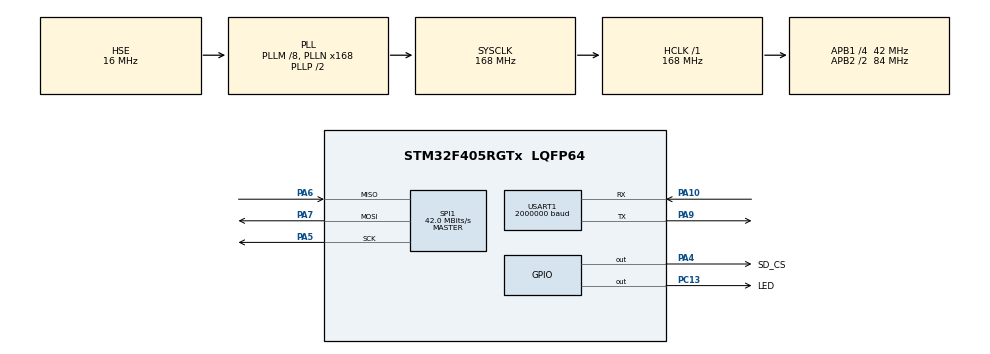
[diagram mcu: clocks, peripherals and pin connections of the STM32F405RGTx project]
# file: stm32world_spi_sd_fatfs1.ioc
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Dma.Request0=SPI1_RX
Dma.Request1=SPI1_TX
Dma.SPI1_RX.0.Direction=DMA_PERIPH_TO_MEMORY
Dma.SPI1_RX.0.FIFOMode=DMA_FIFOMODE_DISABLE
Dma.SPI1_RX.0.Instance=DMA2_Stream0
Dma.SPI1_RX.0.MemDataAlignment=DMA_MDATAALIGN_BYTE
Dma.SPI1_RX.0.MemInc=DMA_MINC_ENABLE
Dma.SPI1_RX.0.Mode=DMA_NORMAL
Dma.SPI1_RX.0.PeriphDataAlignment=DMA_PDATAALIGN_BYTE
Dma.SPI1_RX.0.PeriphInc=DMA_PINC_DISABLE
Dma.SPI1_RX.0.Priority=DMA_PRIORITY_LOW
Dma.SPI1_TX.1.Direction=DMA_MEMORY_TO_PERIPH
Dma.SPI1_TX.1.FIFOMode=DMA_FIFOMODE_DISABLE
Dma.SPI1_TX.1.Instance=DMA2_Stream3
Dma.SPI1_TX.1.MemDataAlignment=DMA_MDATAALIGN_BYTE
Dma.SPI1_TX.1.MemInc=DMA_MINC_ENABLE
Dma.SPI1_TX.1.Mode=DMA_NORMAL
Dma.SPI1_TX.1.PeriphDataAlignment=DMA_PDATAALIGN_BYTE
Dma.SPI1_TX.1.PeriphInc=DMA_PINC_DISABLE
Dma.SPI1_TX.1.Priority=DMA_PRIORITY_LOW
FATFS._FS_EXFAT=1
FATFS._FS_NOFSINFO=0
FATFS._MAX_SS=512
FATFS._MULTI_PARTITION=1
FATFS._USE_CHMOD=1
FATFS._USE_EXPAND=1
FATFS._USE_FIND=1
FATFS._USE_FORWARD=1
FATFS._USE_LABEL=1
FATFS._USE_LFN=1
FATFS._VOLUMES=1
Mcu.Family=STM32F4
Mcu.Name=STM32F405RGTx
Mcu.Package=LQFP64
NVIC.DMA2_Stream0_IRQn=true\:0\:0\:false\:false\:true\:false\:true\:true
NVIC.DMA2_Stream3_IRQn=true\:0\:0\:false\:false\:true\:false\:true\:true
NVIC.PriorityGroup=NVIC_PRIORITYGROUP_4
NVIC.SPI1_IRQn=true\:0\:0\:false\:false\:true\:true\:true\:true
PA10.Mode=Asynchronous
PA10.Signal=USART1_RX
PA13.Mode=Trace_Asynchronous_SW
PA13.Signal=SYS_JTMS-SWDIO
PA14.Mode=Trace_Asynchronous_SW
PA14.Signal=SYS_JTCK-SWCLK
PA4.GPIO_Label=SD_CS
PA4.PinState=GPIO_PIN_SET
PA4.Signal=GPIO_Output
PA5.Mode=Full_Duplex_Master
PA5.Signal=SPI1_SCK
PA6.GPIO_PuPd=GPIO_PULLUP
PA6.Mode=Full_Duplex_Master
PA6.Signal=SPI1_MISO
PA7.GPIO_PuPd=GPIO_PULLUP
PA7.Mode=Full_Duplex_Master
PA7.Signal=SPI1_MOSI
PA9.Mode=Asynchronous
PA9.Signal=USART1_TX
PB3.Mode=Trace_Asynchronous_SW
PB3.Signal=SYS_JTDO-SWO
PC13-ANTI_TAMP.GPIO_Label=LED
PC13-ANTI_TAMP.PinState=GPIO_PIN_SET
PC13-ANTI_TAMP.Signal=GPIO_Output
PH0-OSC_IN.Mode=HSE-External-Oscillator
PH0-OSC_IN.Signal=RCC_OSC_IN
PH1-OSC_OUT.Mode=HSE-External-Oscillator
PH1-OSC_OUT.Signal=RCC_OSC_OUT
ProjectManager.HeapSize=0x200
ProjectManager.StackSize=0x400
ProjectManager.TargetToolchain=STM32CubeIDE
RCC.48MHZClocksFreq_Value=84000000
RCC.AHBFreq_Value=168000000
RCC.APB1CLKDivider=RCC_HCLK_DIV4
RCC.APB1Freq_Value=42000000
RCC.APB1TimFreq_Value=84000000
RCC.APB2CLKDivider=RCC_HCLK_DIV2
RCC.APB2Freq_Value=84000000
RCC.APB2TimFreq_Value=168000000
RCC.CortexFreq_Value=168000000
RCC.HCLKFreq_Value=168000000
RCC.HSE_VALUE=16000000
RCC.HSI_VALUE=16000000
RCC.LSE_VALUE=32768
RCC.PLLM=8
RCC.PLLN=168
RCC.PLLSourceVirtual=RCC_PLLSOURCE_HSE
RCC.SYSCLKFreq_VALUE=168000000
RCC.SYSCLKSource=RCC_SYSCLKSOURCE_PLLCLK
RCC.VCOOutputFreq_Value=336000000
SPI1.BaudRatePrescaler=SPI_BAUDRATEPRESCALER_2
SPI1.CalculateBaudRate=42.0 MBits/s
SPI1.Direction=SPI_DIRECTION_2LINES
SPI1.Mode=SPI_MODE_MASTER
SPI1.VirtualType=VM_MASTER
USART1.BaudRate=2000000
USART1.VirtualMode=VM_ASYNC
VP_FATFS_VS_Generic.Mode=User_defined
board=custom

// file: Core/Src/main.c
/* USER CODE BEGIN Header */
/**
 ******************************************************************************
 * @file           : main.c
 * @brief          : Main program body
 ******************************************************************************
 * @attention
 *
 * Copyright (c) 2024 Lars Boegild Thomsen <lth@stm32world.com>
 * All rights reserved.
 *
 * This software is licensed under terms that can be found in the LICENSE file
 * in the root directory of this software component.
 * If no LICENSE file comes with this software, it is provided AS-IS.
 *
 ******************************************************************************
 */
/* USER CODE END Header */
#include "main.h"
#include "fatfs.h"

/* USER CODE BEGIN Includes */
#include <stdio.h>
#include <string.h>
//#include "sd_functions.h"
/* USER CODE END Includes */

SPI_HandleTypeDef hspi1;
DMA_HandleTypeDef hdma_spi1_rx;
DMA_HandleTypeDef hdma_spi1_tx;

UART_HandleTypeDef huart1;

/* USER CODE BEGIN PV */
const char total_uptime_filename[] = "uptime.dat";
const char tick_filename[] = "tick.txt";
const char big_filename[] = "big.dat";

uint32_t total_uptime = 0;
/* USER CODE END PV */

void SystemClock_Config(void);
static void MX_GPIO_Init(void);
static void MX_DMA_Init(void);
static void MX_SPI1_Init(void);
static void MX_USART1_UART_Init(void);

/* USER CODE BEGIN 0 */

// Send printf to uart1
int _write(int fd, char *ptr, int len) {
    HAL_StatusTypeDef hstatus;

    if (fd == 1 || fd == 2) {
        hstatus = HAL_UART_Transmit(&huart1, (uint8_t*) ptr, len, HAL_MAX_DELAY);
        if (hstatus == HAL_OK)
            return len;
        else
            return -1;
    }
    return -1;
}

void ls() {

    FRESULT res;
    DIR dir;
    char *path;

    path = ""; // where you want to list

    res = f_opendir(&dir, path);

#ifdef DEBUG
    if (res != FR_OK)
        printf("res = %d f_opendir\n", res);
#endif

    if (res == FR_OK) {
        while (1) {

            FILINFO fno;

            res = f_readdir(&dir, &fno);

#ifdef DEBUG
            if (res != FR_OK)
                printf("res = %d f_readdir\n", res);
#endif

            if ((res != FR_OK) || (fno.fname[0] == 0))
                break;

            printf("%c%c%c%c %12d %s/%s\n",
                    ((fno.fattrib & AM_DIR) ? 'D' : '-'),
                    ((fno.fattrib & AM_RDO) ? 'R' : '-'),
                    ((fno.fattrib & AM_SYS) ? 'S' : '-'),
                    ((fno.fattrib & AM_HID) ? 'H' : '-'),
                    (unsigned int) fno.fsize, path, fno.fname);
        }
    }

    uint32_t freeClust;
    FATFS *fs_ptr; // = &USERFatFS;
    res = f_getfree("", &freeClust, &fs_ptr); // Warning! This fills fs.n_fatent and fs.csize!
    if (res == FR_OK) {
        uint32_t totalBlocks = (fs_ptr->n_fatent - 2) * fs_ptr->csize;
        uint32_t freeBlocks = freeClust * fs_ptr->csize;

        printf("Total blocks: %lu (%lu Mb)\n", totalBlocks, totalBlocks / 2000);
        printf("Free blocks: %lu (%lu Mb)\n", freeBlocks, freeBlocks / 2000);

    } else {
        printf("f_getfree() failed, res = %d\r\n", res);
    }

}

/* USER CODE END 0 */

int main(void)
{

    /* MCU Configuration--------------------------------------------------------*/

    /* Reset of all peripherals, Initializes the Flash interface and the Systick. */
    HAL_Init();

    /* Configure the system clock */
    SystemClock_Config();

    /* Initialize all configured peripherals */
    MX_GPIO_Init();
    MX_DMA_Init();
    MX_SPI1_Init();
    MX_USART1_UART_Init();
    /* USER CODE BEGIN 2 */

    HAL_Delay(100);

    printf("\n\n\n\n--------\nStarting\n");

    //sd_mount();

    uint32_t wbytes, rbytes; /* File write counts */

    if (f_mount(&USERFatFS, "", 0) != FR_OK) {
        printf("Unable to mount disk\n");
        Error_Handler();
    }

    if (f_open(&USERFile, total_uptime_filename, FA_OPEN_EXISTING | FA_READ) == FR_OK) {
        if (f_read(&USERFile, &total_uptime, sizeof(total_uptime), (void*) &rbytes) == FR_OK) {
            printf("Total uptime = %lu\n", total_uptime);
            f_close(&USERFile);
        } else {
            printf("Unable to read\n");
            Error_Handler();
        }
    } else {
        // File did not exist - let's create it
        if (f_open(&USERFile, total_uptime_filename, FA_CREATE_ALWAYS | FA_WRITE) == FR_OK) {
            if (f_write(&USERFile, &total_uptime, sizeof(total_uptime), (void*) &wbytes) == FR_OK) {
                printf("File %s created\n", total_uptime_filename);
                f_close(&USERFile);
            } else {
                printf("Unable to write\n");
                Error_Handler();
            }
        } else {
            printf("Unable to create\n");
            Error_Handler();
        }
    }

    // Create tick file if it does NOT exist
    if (f_open(&USERFile, tick_filename, FA_CREATE_ALWAYS | FA_WRITE) == FR_OK) {
        f_close(&USERFile);
    }

    uint8_t buf[1024]; // 1K buffer
    for (uint16_t i = 0; i < 1024; ++i) {
        buf[i] = (uint8_t) i;
    }

    uint32_t start = uwTick;
    if (f_open(&USERFile, big_filename, FA_CREATE_ALWAYS | FA_WRITE) == FR_OK) {
        for (int i = 0; i < 1024; ++i) { // 100 kB
            //printf("Writing buf %d\n", i);
            if (f_write(&USERFile, &buf, sizeof(buf), (void*) &wbytes) != FR_OK) {
                printf("Unable to write\n");
            }
        }
        f_close(&USERFile);
    } else {
        printf("Unable to open %s\n", big_filename);
    }
    printf("Write took %lu ms\n", uwTick - start);

    //ls();

    /* USER CODE END 2 */

    /* Infinite loop */
    /* USER CODE BEGIN WHILE */

    uint32_t now, next_blink = 500, next_tick = 1000, loop_count = 0, next_ls = 10000;

    while (1) {

        now = uwTick;

        if (now >= next_blink) {
            HAL_GPIO_TogglePin(LED_GPIO_Port, LED_Pin);
            next_blink = now + 500;
        }

        if (now >= next_tick) {

            ++total_uptime;

            char s[128];

            sprintf(s, "Tick %lu (loop = %lu total = %lu)\n", now / 1000, loop_count, total_uptime);

            printf("%s", s);

            // Write tick line to file
            if (f_open(&USERFile, tick_filename, FA_OPEN_APPEND | FA_WRITE) == FR_OK) {
                if (f_write(&USERFile, &s, strlen(s), (void*) &wbytes) != FR_OK) {
                    printf("Unable to write\n");
                }
                f_close(&USERFile);
            } else {
                printf("Unable to open tick file\n");
            }

            // Update the total uptime file
            if (f_open(&USERFile, total_uptime_filename, FA_OPEN_EXISTING | FA_WRITE) == FR_OK) {
                if (f_write(&USERFile, &total_uptime, sizeof(total_uptime), (void*) &wbytes) != FR_OK) {
                    printf("Unable to write\n");
                }
                f_close(&USERFile);
            } else {
                printf("Unable to open file\n");
            }

            loop_count = 0;
            next_tick = now + 1000;
        }

        if (now >= next_ls) {

            uint32_t start = uwTick;
            if (f_open(&USERFile, big_filename, FA_OPEN_EXISTING | FA_READ) == FR_OK) {
                while (f_read(&USERFile, &buf, sizeof(buf), (void*) &rbytes) == FR_OK && rbytes == sizeof(buf)) {

                }
                f_close(&USERFile);
            } else {
                printf("Unable to open %s\n", big_filename);
            }
            printf("Read took %lu ms\n", uwTick - start);

            //ls();
            next_ls = now + 10000;
        }

        ++loop_count;

        /* USER CODE END WHILE */

    }
}

void SystemClock_Config(void)
{
    RCC_OscInitTypeDef RCC_OscInitStruct = { 0 };
    RCC_ClkInitTypeDef RCC_ClkInitStruct = { 0 };

    /** Configure the main internal regulator output voltage
     */
    __HAL_RCC_PWR_CLK_ENABLE();
    __HAL_PWR_VOLTAGESCALING_CONFIG(PWR_REGULATOR_VOLTAGE_SCALE1);

    /** Initializes the RCC Oscillators according to the specified parameters
     * in the RCC_OscInitTypeDef structure.
     */
    RCC_OscInitStruct.OscillatorType = RCC_OSCILLATORTYPE_HSE;
    RCC_OscInitStruct.HSEState = RCC_HSE_ON;
    RCC_OscInitStruct.PLL.PLLState = RCC_PLL_ON;
    RCC_OscInitStruct.PLL.PLLSource = RCC_PLLSOURCE_HSE;
    RCC_OscInitStruct.PLL.PLLM = 8;
    RCC_OscInitStruct.PLL.PLLN = 168;
    RCC_OscInitStruct.PLL.PLLP = RCC_PLLP_DIV2;
    RCC_OscInitStruct.PLL.PLLQ = 4;
    if (HAL_RCC_OscConfig(&RCC_OscInitStruct) != HAL_OK)
            {
        Error_Handler();
    }

    /** Initializes the CPU, AHB and APB buses clocks
     */
    RCC_ClkInitStruct.ClockType = RCC_CLOCKTYPE_HCLK | RCC_CLOCKTYPE_SYSCLK
            | RCC_CLOCKTYPE_PCLK1 | RCC_CLOCKTYPE_PCLK2;
    RCC_ClkInitStruct.SYSCLKSource = RCC_SYSCLKSOURCE_PLLCLK;
    RCC_ClkInitStruct.AHBCLKDivider = RCC_SYSCLK_DIV1;
    RCC_ClkInitStruct.APB1CLKDivider = RCC_HCLK_DIV4;
    RCC_ClkInitStruct.APB2CLKDivider = RCC_HCLK_DIV2;

    if (HAL_RCC_ClockConfig(&RCC_ClkInitStruct, FLASH_LATENCY_5) != HAL_OK)
            {
        Error_Handler();
    }
}

static void MX_SPI1_Init(void)
{

    /* SPI1 parameter configuration*/
    hspi1.Instance = SPI1;
    hspi1.Init.Mode = SPI_MODE_MASTER;
    hspi1.Init.Direction = SPI_DIRECTION_2LINES;
    hspi1.Init.DataSize = SPI_DATASIZE_8BIT;
    hspi1.Init.CLKPolarity = SPI_POLARITY_LOW;
    hspi1.Init.CLKPhase = SPI_PHASE_1EDGE;
    hspi1.Init.NSS = SPI_NSS_SOFT;
    hspi1.Init.BaudRatePrescaler = SPI_BAUDRATEPRESCALER_2;
    hspi1.Init.FirstBit = SPI_FIRSTBIT_MSB;
    hspi1.Init.TIMode = SPI_TIMODE_DISABLE;
    hspi1.Init.CRCCalculation = SPI_CRCCALCULATION_DISABLE;
    hspi1.Init.CRCPolynomial = 10;
    if (HAL_SPI_Init(&hspi1) != HAL_OK)
            {
        Error_Handler();
    }

}

static void MX_USART1_UART_Init(void)
{

    huart1.Instance = USART1;
    huart1.Init.BaudRate = 2000000;
    huart1.Init.WordLength = UART_WORDLENGTH_8B;
    huart1.Init.StopBits = UART_STOPBITS_1;
    huart1.Init.Parity = UART_PARITY_NONE;
    huart1.Init.Mode = UART_MODE_TX_RX;
    huart1.Init.HwFlowCtl = UART_HWCONTROL_NONE;
    huart1.Init.OverSampling = UART_OVERSAMPLING_16;
    if (HAL_UART_Init(&huart1) != HAL_OK)
            {
        Error_Handler();
    }

}

static void MX_DMA_Init(void)
{

    /* DMA controller clock enable */
    __HAL_RCC_DMA2_CLK_ENABLE();

    /* DMA interrupt init */
    /* DMA2_Stream0_IRQn interrupt configuration */
    HAL_NVIC_SetPriority(DMA2_Stream0_IRQn, 0, 0);
    HAL_NVIC_EnableIRQ(DMA2_Stream0_IRQn);
    /* DMA2_Stream3_IRQn interrupt configuration */
    HAL_NVIC_SetPriority(DMA2_Stream3_IRQn, 0, 0);
    HAL_NVIC_EnableIRQ(DMA2_Stream3_IRQn);

}

static void MX_GPIO_Init(void)
{
    GPIO_InitTypeDef GPIO_InitStruct = { 0 };

    /* GPIO Ports Clock Enable */
    __HAL_RCC_GPIOC_CLK_ENABLE();
    __HAL_RCC_GPIOH_CLK_ENABLE();
    __HAL_RCC_GPIOA_CLK_ENABLE();
    __HAL_RCC_GPIOB_CLK_ENABLE();

    /*Configure GPIO pin Output Level */
    HAL_GPIO_WritePin(LED_GPIO_Port, LED_Pin, GPIO_PIN_SET);

    /*Configure GPIO pin Output Level */
    HAL_GPIO_WritePin(SD_CS_GPIO_Port, SD_CS_Pin, GPIO_PIN_SET);

    /*Configure GPIO pin : LED_Pin */
    GPIO_InitStruct.Pin = LED_Pin;
    GPIO_InitStruct.Mode = GPIO_MODE_OUTPUT_PP;
    GPIO_InitStruct.Pull = GPIO_NOPULL;
    GPIO_InitStruct.Speed = GPIO_SPEED_FREQ_LOW;
    HAL_GPIO_Init(LED_GPIO_Port, &GPIO_InitStruct);

    /*Configure GPIO pin : SD_CS_Pin */
    GPIO_InitStruct.Pin = SD_CS_Pin;
    GPIO_InitStruct.Mode = GPIO_MODE_OUTPUT_PP;
    GPIO_InitStruct.Pull = GPIO_NOPULL;
    GPIO_InitStruct.Speed = GPIO_SPEED_FREQ_LOW;
    HAL_GPIO_Init(SD_CS_GPIO_Port, &GPIO_InitStruct);

}

void Error_Handler(void)
{
    __disable_irq();
    while (1)
    {
    }
}
